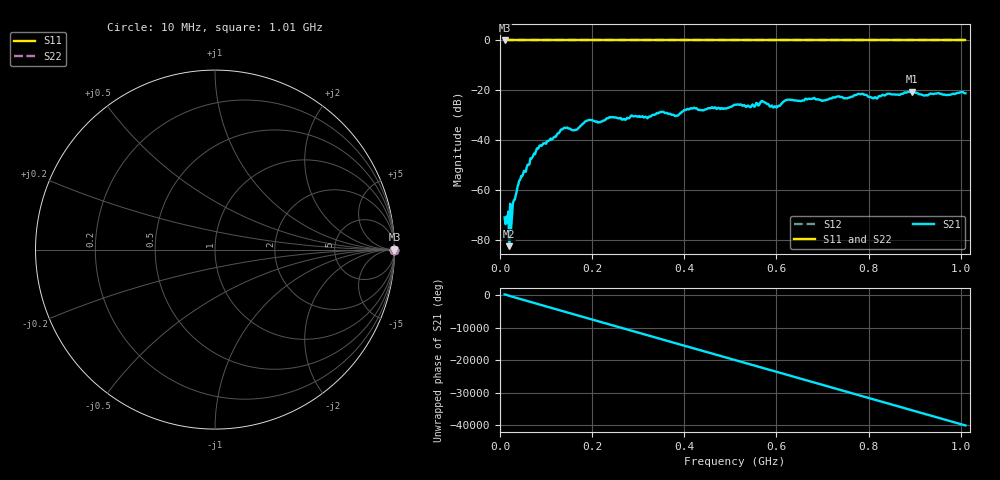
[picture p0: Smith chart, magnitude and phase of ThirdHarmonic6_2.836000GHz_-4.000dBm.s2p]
! 8/17/2025 7:35:20 AM
! C:\ANRITSUVNA\TEMP\TEMP.S2P
! CHANNEL.1
! TR.MEASUREMENT
! RAW.DATA
! RF.CORRECTION.OFF
! AVERAGING.OFF
! IF.BANDWIDTH: 5KHZ
! SWEEPTYPE:  FREQ.SWEEP(Linear)
! Reference Plane Port Info
! PORT:  PORT1  PORT2
! DISTANCE:  0  m  0  m
! TIME:  0  s  0  s
! PHASE.OFFSET:  0  deg.  0  deg.
! LOSS:  0  dB  0  dB
! REF.LOSS:  0  dB  0  dB
! REF.FREQ:  0  Hz  0  Hz
! Power Info
! POWER:  -20  dBm  -20  dBm
! EFF.POWER:  -20  dBm  -20  dBm
! SOURCE.ATTEN:  0  dB  0  dB
! TEST.ATTEN:  0  dB  0  dB
# GHZ S RI R 50.0
! FREQ.GHZ  S11RE  S11IM  S21RE  S21IM  S12RE  S12IM  S22RE  S22IM
!; PortSelection: Port_12
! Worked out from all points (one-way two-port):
!   501 points, 10 MHz to 1.01 GHz, reference 50 ohm
!   highest |S21| = -20.51 dB at 894 MHz (marker M1); lowest = -82.6 dB at 20 MHz (marker M2)
!   lowest |S11| = 0.0 dB at 10 MHz (marker M3)
!   |S11| at or under -10 dB: nowhere
!   |S22| runs from 0.0 to 0.0 dB; largest |S21 - S12| = 1.1
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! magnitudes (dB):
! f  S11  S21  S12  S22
! 10 MHz  0.0  -71.1  0.0  0.0
! 20 MHz  0.0  -82.6  0.0  0.0
! 24 MHz  0.0  -75.6  0.0  0.0
! 32 MHz  0.0  -63.9  0.0  0.0
! 42 MHz  0.0  -56.3  0.0  0.0
! 82 MHz  0.0  -43.5  0.0  0.0
! 136 MHz  0.0  -35.6  0.0  0.0
! 164 MHz  0.0  -35.8  0.0  0.0
! 178 MHz  0.0  -33.7  0.0  0.0
! 194 MHz  0.0  -31.9  0.0  0.0
! 322 MHz  0.0  -30.8  0.0  0.0
! 344 MHz  0.0  -29.2  0.0  0.0
! 382 MHz  0.0  -30.3  0.0  0.0
! 416 MHz  0.0  -27.4  0.0  0.0
! 510 MHz  0.0  -25.8  0.0  0.0
! 570 MHz  0.0  -24.4  0.0  0.0
! 598 MHz  0.0  -26.6  0.0  0.0
! 624 MHz  0.0  -23.8  0.0  0.0
! 678 MHz  0.0  -23.4  0.0  0.0
! 844 MHz  0.0  -21.4  0.0  0.0
! 894 MHz  0.0  -20.5  0.0  0.0
! 1.01 GHz  0.0  -21.2  0.0  0.0
